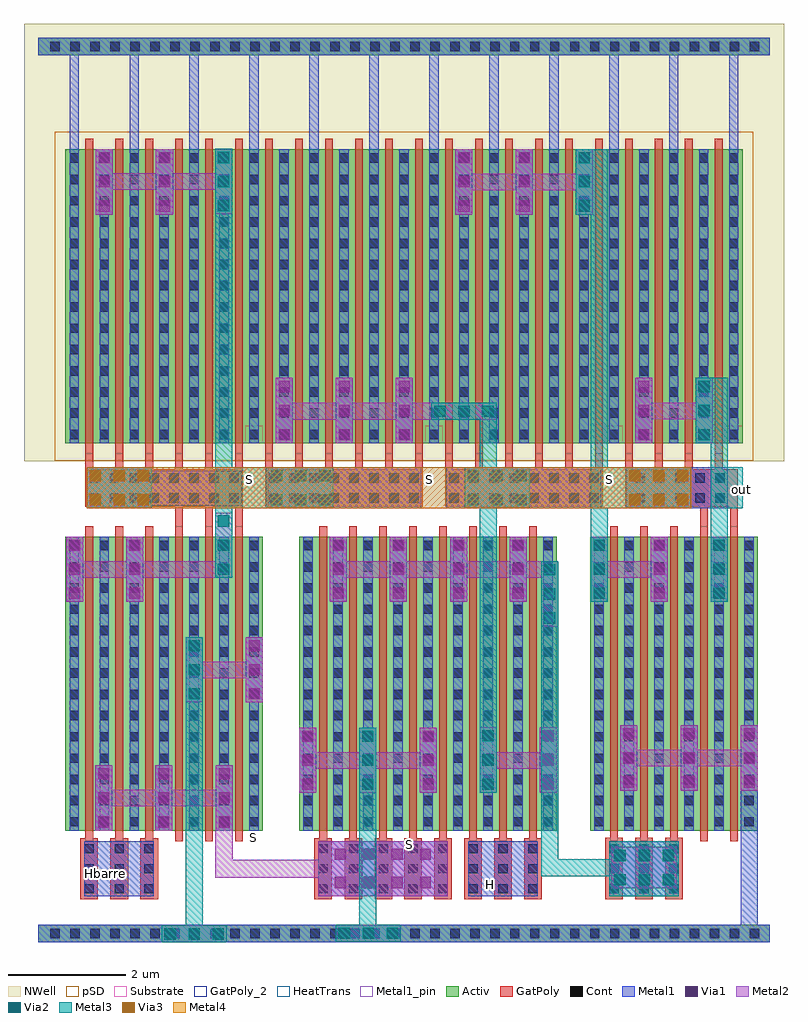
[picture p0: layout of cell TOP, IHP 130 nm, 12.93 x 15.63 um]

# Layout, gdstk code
from math import pi, radians
import gdstk
lib = gdstk.Library(unit=1e-6, precision=1e-09)
def R(c, l, rs):  # rectangles x0, y0, x1, y1
    for r in rs: c.add(gdstk.rectangle(r[:2], r[2:], *l))
def A(c, l, x, y, w, h, nx, ny, dx, dy):  # array of equal rectangles
    R(c, l, [(x+i*dx, y+j*dy, x+i*dx+w, y+j*dy+h) for i in range(nx) for j in range(ny)])
def P(c, l, *ps):  # polygons
    for p in ps: c.add(gdstk.Polygon(p, *l))
Activ = (1, 0)
GatPoly = (5, 0)
GatPoly_2 = (5, 2)
Cont = (6, 0)
Metal1 = (8, 0)
Metal1_pin = (8, 2)
Metal2 = (10, 0)
pSD = (14, 0)
Via1 = (19, 0)
Via2 = (29, 0)
Metal3 = (30, 0)
NWell = (31, 0)
Substrate = (40, 0)
Via3 = (49, 0)
Metal4 = (50, 0)
HeatTrans = (51, 0)

nmos_4 = lib.new_cell('nmos$4')
A(nmos_4, Activ, 0, 0, 0.3, 0.3, 4, 1, 0.51, 0)
R(nmos_4, Activ, [(0,0,1.83,5)])
A(nmos_4, GatPoly, 0.34, -0.18, 0.13, 5.36, 3, 1, 0.51, 0)
R(nmos_4, GatPoly_2, [(0.34,-0.18,0.47,5.18)])
A(nmos_4, Cont, 0.07, 0.07, 0.16, 0.16, 4, 4, 0.51, 0.36)
A(nmos_4, Cont, 0.07, 1.515, 0.16, 0.16, 4, 3, 0.51, 0.36)
A(nmos_4, Cont, 0.07, 2.6, 0.16, 0.16, 4, 3, 0.51, 0.36)
A(nmos_4, Cont, 0.07, 3.685, 0.16, 0.16, 4, 3, 0.51, 0.36)
A(nmos_4, Cont, 0.07, 4.77, 0.16, 0.16, 4, 1, 0.51, 0)
A(nmos_4, Metal1, 0.07, 0, 0.16, 5, 4, 1, 0.51, 0)
R(nmos_4, Metal1_pin, [(0.07,0,0.23,5), (0.58,0,0.74,5)])
A(nmos_4, HeatTrans, 0.34, -0.18, 0.13, 5.36, 3, 1, 0.51, 0)
nmos_4.add(gdstk.Label('nmos', (0.405,2.5), layer=63, texttype=0))
nmos_4.add(gdstk.Label('nmos', (0.405,2.5), layer=51, texttype=0))
nmos_4.add(gdstk.Label('nmos', (0.915,2.5), layer=51, texttype=0))
nmos_4.add(gdstk.Label('nmos', (1.425,2.5), layer=51, texttype=0))

nmos_5 = lib.new_cell('nmos$5')
A(nmos_5, Activ, 0, 0, 0.3, 0.3, 3, 1, 0.51, 0)
R(nmos_5, Activ, [(0,0,1.32,5)])
R(nmos_5, GatPoly, [(0.34,-0.18,0.47,5.18), (0.85,-0.18,0.98,5.18)])
R(nmos_5, GatPoly_2, [(0.34,-0.18,0.47,5.18)])
A(nmos_5, Cont, 0.07, 0.07, 0.16, 0.16, 3, 4, 0.51, 0.36)
A(nmos_5, Cont, 0.07, 1.515, 0.16, 0.16, 3, 3, 0.51, 0.36)
A(nmos_5, Cont, 0.07, 2.6, 0.16, 0.16, 3, 3, 0.51, 0.36)
A(nmos_5, Cont, 0.07, 3.685, 0.16, 0.16, 3, 3, 0.51, 0.36)
A(nmos_5, Cont, 0.07, 4.77, 0.16, 0.16, 3, 1, 0.51, 0)
A(nmos_5, Metal1, 0.07, 0, 0.16, 5, 3, 1, 0.51, 0)
R(nmos_5, Metal1_pin, [(0.07,0,0.23,5), (0.58,0,0.74,5)])
R(nmos_5, HeatTrans, [(0.34,-0.18,0.47,5.18), (0.85,-0.18,0.98,5.18)])
nmos_5.add(gdstk.Label('nmos', (0.405,2.5), layer=63, texttype=0))
nmos_5.add(gdstk.Label('nmos', (0.405,2.5), layer=51, texttype=0))
nmos_5.add(gdstk.Label('nmos', (0.915,2.5), layer=51, texttype=0))

nmos = lib.new_cell('nmos')
A(nmos, Activ, 0, 0, 0.3, 0.3, 6, 1, 0.51, 0)
R(nmos, Activ, [(0,0,2.85,5)])
A(nmos, GatPoly, 0.34, -0.18, 0.13, 5.36, 5, 1, 0.51, 0)
R(nmos, GatPoly_2, [(0.34,-0.18,0.47,5.18)])
A(nmos, Cont, 0.07, 0.07, 0.16, 0.16, 6, 4, 0.51, 0.36)
A(nmos, Cont, 0.07, 1.515, 0.16, 0.16, 6, 3, 0.51, 0.36)
A(nmos, Cont, 0.07, 2.6, 0.16, 0.16, 6, 3, 0.51, 0.36)
A(nmos, Cont, 0.07, 3.685, 0.16, 0.16, 6, 3, 0.51, 0.36)
A(nmos, Cont, 0.07, 4.77, 0.16, 0.16, 6, 1, 0.51, 0)
A(nmos, Metal1, 0.07, 0, 0.16, 5, 6, 1, 0.51, 0)
R(nmos, Metal1_pin, [(0.07,0,0.23,5), (0.58,0,0.74,5)])
A(nmos, HeatTrans, 0.34, -0.18, 0.13, 5.36, 5, 1, 0.51, 0)
nmos.add(gdstk.Label('nmos', (0.405,2.5), layer=63, texttype=0))
nmos.add(gdstk.Label('nmos', (0.405,2.5), layer=51, texttype=0))
nmos.add(gdstk.Label('nmos', (0.915,2.5), layer=51, texttype=0))
nmos.add(gdstk.Label('nmos', (1.425,2.5), layer=51, texttype=0))
nmos.add(gdstk.Label('nmos', (1.935,2.5), layer=51, texttype=0))
nmos.add(gdstk.Label('nmos', (2.445,2.5), layer=51, texttype=0))

pmos_3 = lib.new_cell('pmos$3')
A(pmos_3, Activ, 0, 0, 0.3, 0.3, 7, 1, 0.51, 0)
R(pmos_3, Activ, [(0,0,3.36,5)])
A(pmos_3, GatPoly, 0.34, -0.18, 0.13, 5.36, 6, 1, 0.51, 0)
R(pmos_3, GatPoly, [(0.34,-0.18,0.47,5.18)])
A(pmos_3, Cont, 0.07, 0.07, 0.16, 0.16, 7, 4, 0.51, 0.36)
A(pmos_3, Cont, 0.07, 1.515, 0.16, 0.16, 7, 3, 0.51, 0.36)
A(pmos_3, Cont, 0.07, 2.6, 0.16, 0.16, 7, 3, 0.51, 0.36)
A(pmos_3, Cont, 0.07, 3.685, 0.16, 0.16, 7, 3, 0.51, 0.36)
A(pmos_3, Cont, 0.07, 4.77, 0.16, 0.16, 7, 1, 0.51, 0)
A(pmos_3, Metal1, 0.58, 0, 0.16, 5, 6, 1, 0.51, 0)
R(pmos_3, Metal1, [(0.07,0,0.23,5), (0.07,0,0.23,5), (0.58,0,0.74,5)])
R(pmos_3, pSD, [(-0.18,-0.3,3.54,5.3)])
R(pmos_3, NWell, [(-0.31,-0.31,3.67,5.31)])
R(pmos_3, Substrate, [(3.06,0,3.36,0.3)])
A(pmos_3, HeatTrans, 0.34, -0.18, 0.13, 5.36, 6, 1, 0.51, 0)
pmos_3.add(gdstk.Label('pmos', (0.405,2.5), layer=63, texttype=0))
pmos_3.add(gdstk.Label('pmos', (0.405,2.5), layer=51, texttype=0))
pmos_3.add(gdstk.Label('pmos', (0.915,2.5), layer=51, texttype=0))
pmos_3.add(gdstk.Label('pmos', (1.425,2.5), layer=51, texttype=0))
pmos_3.add(gdstk.Label('pmos', (1.935,2.5), layer=51, texttype=0))
pmos_3.add(gdstk.Label('pmos', (2.445,2.5), layer=51, texttype=0))
pmos_3.add(gdstk.Label('pmos', (2.955,2.5), layer=51, texttype=0))

via_stack_2 = lib.new_cell('via_stack$2')
R(via_stack_2, Metal1, [(-0.555,-0.145,0.555,0.145)])
R(via_stack_2, Metal2, [(-0.555,-0.145,0.555,0.145)])
A(via_stack_2, Via1, -0.505, -0.095, 0.19, 0.19, 3, 1, 0.41, 0)
A(via_stack_2, Via2, -0.505, -0.095, 0.19, 0.19, 3, 1, 0.41, 0)
R(via_stack_2, Metal3, [(-0.555,-0.145,0.555,0.145)])

via_stack_1 = lib.new_cell('via_stack$1')
R(via_stack_1, Metal1, [(-0.555,-0.145,0.555,0.145)])
R(via_stack_1, Metal2, [(-0.555,-0.145,0.555,0.145)])
A(via_stack_1, Via1, -0.505, -0.095, 0.19, 0.19, 3, 1, 0.41, 0)

pmos = lib.new_cell('pmos')
A(pmos, Activ, 0, 0, 0.3, 0.3, 5, 1, 0.51, 0)
R(pmos, Activ, [(0,0,2.34,5)])
A(pmos, GatPoly, 0.34, -0.18, 0.13, 5.36, 4, 1, 0.51, 0)
R(pmos, GatPoly, [(0.34,-0.18,0.47,5.18)])
A(pmos, Cont, 0.07, 0.07, 0.16, 0.16, 5, 4, 0.51, 0.36)
A(pmos, Cont, 0.07, 1.515, 0.16, 0.16, 5, 3, 0.51, 0.36)
A(pmos, Cont, 0.07, 2.6, 0.16, 0.16, 5, 3, 0.51, 0.36)
A(pmos, Cont, 0.07, 3.685, 0.16, 0.16, 5, 3, 0.51, 0.36)
A(pmos, Cont, 0.07, 4.77, 0.16, 0.16, 5, 1, 0.51, 0)
A(pmos, Metal1, 0.58, 0, 0.16, 5, 4, 1, 0.51, 0)
R(pmos, Metal1, [(0.07,0,0.23,5), (0.07,0,0.23,5), (0.58,0,0.74,5)])
R(pmos, pSD, [(-0.18,-0.3,2.52,5.3)])
R(pmos, NWell, [(-0.31,-0.31,2.65,5.31)])
R(pmos, Substrate, [(2.04,0,2.34,0.3)])
A(pmos, HeatTrans, 0.34, -0.18, 0.13, 5.36, 4, 1, 0.51, 0)
pmos.add(gdstk.Label('pmos', (0.405,2.5), layer=63, texttype=0))
pmos.add(gdstk.Label('pmos', (0.405,2.5), layer=51, texttype=0))
pmos.add(gdstk.Label('pmos', (0.915,2.5), layer=51, texttype=0))
pmos.add(gdstk.Label('pmos', (1.425,2.5), layer=51, texttype=0))
pmos.add(gdstk.Label('pmos', (1.935,2.5), layer=51, texttype=0))

via_stack = lib.new_cell('via_stack')
R(via_stack, Metal1, [(-0.385,-0.865,0.385,0.865)])
R(via_stack, Metal2, [(-0.385,-0.865,0.385,0.865)])
A(via_stack, Via1, -0.335, -0.815, 0.19, 0.19, 1, 4, 0, 0.48)
A(via_stack, Via1, 0.145, -0.815, 0.19, 0.19, 1, 4, 0, 0.48)

via_stack_3 = lib.new_cell('via_stack$3')
R(via_stack_3, Metal1, [(-0.35,-0.555,0.35,0.555)])
R(via_stack_3, Metal2, [(-0.35,-0.555,0.35,0.555)])
A(via_stack_3, Via1, -0.3, -0.505, 0.19, 0.19, 1, 3, 0, 0.41)
A(via_stack_3, Via1, 0.11, -0.505, 0.19, 0.19, 1, 3, 0, 0.41)
A(via_stack_3, Via2, -0.3, -0.505, 0.19, 0.19, 1, 3, 0, 0.41)
A(via_stack_3, Via2, 0.11, -0.505, 0.19, 0.19, 1, 3, 0, 0.41)
R(via_stack_3, Metal3, [(-0.35,-0.555,0.35,0.555)])
A(via_stack_3, Via3, -0.3, -0.505, 0.19, 0.19, 1, 3, 0, 0.41)
A(via_stack_3, Via3, 0.11, -0.505, 0.19, 0.19, 1, 3, 0, 0.41)
R(via_stack_3, Metal4, [(-0.35,-0.555,0.35,0.555)])

via_stack_4 = lib.new_cell('via_stack$4')
R(via_stack_4, Metal2, [(-0.555,-0.145,0.555,0.145)])
A(via_stack_4, Via2, -0.505, -0.095, 0.19, 0.19, 3, 1, 0.41, 0)
R(via_stack_4, Metal3, [(-0.555,-0.145,0.555,0.145)])

via_stack_5 = lib.new_cell('via_stack$5')
R(via_stack_5, Metal1, [(-0.35,-0.555,0.35,0.555)])
R(via_stack_5, Metal2, [(-0.35,-0.555,0.35,0.555)])
A(via_stack_5, Via1, -0.3, -0.505, 0.19, 0.19, 1, 3, 0, 0.41)
A(via_stack_5, Via1, 0.11, -0.505, 0.19, 0.19, 1, 3, 0, 0.41)
A(via_stack_5, Via2, -0.3, -0.505, 0.19, 0.19, 1, 3, 0, 0.41)
A(via_stack_5, Via2, 0.11, -0.505, 0.19, 0.19, 1, 3, 0, 0.41)
R(via_stack_5, Metal3, [(-0.35,-0.555,0.35,0.555)])

top = lib.new_cell('TOP')
R(top, Activ, [(-26.855,-10.975,-14.405,-10.675), (-26.855,4.115,-14.405,4.415)])
A(top, GatPoly, -19.605, -10.245, 0.3, 1.04, 3, 1, 0.51, 0)
A(top, GatPoly, -17.205, -10.245, 0.3, 1.045, 3, 1, 0.51, 0)
R(top, GatPoly, [(-26.14,-10.245,-25.84,-9.205), (-25.625,-10.245,-25.325,-9.205), (-25.115,-10.245,-24.815,-9.205), (-22.155,-10.245,-21.855,-9.21), (-21.64,-10.245,-21.34,-9.21), (-21.13,-10.245,-20.83,-9.21), (-20.625,-10.245,-20.325,-9.21), (-20.115,-10.245,-19.815,-9.21)])
P(top, GatPoly, [(-22.99,-3.57),(-22.99,-2.665),(-22.86,-2.665),(-22.86,-2.93),(-22.48,-2.93),(-22.48,-2.665),(-22.35,-2.665),(-22.35,-2.93),(-21.97,-2.93),(-21.97,-2.665),(-21.84,-2.665),(-21.84,-2.93),(-21.46,-2.93),(-21.46,-2.665),(-21.33,-2.665),(-21.33,-2.93),(-20.95,-2.93),(-20.95,-2.665),(-20.82,-2.665),(-20.82,-2.93),(-20.44,-2.93),(-20.44,-2.665),(-20.31,-2.665),(-20.31,-3.035),(-20.31,-3.57),(-21.84,-3.57),(-21.97,-3.57),(-22.35,-3.57),(-22.48,-3.57),(-22.86,-3.57)],
  [(-15.59,-3.895),(-15.59,-3.57),(-16.87,-3.57),(-16.87,-2.665),(-16.74,-2.665),(-16.74,-2.925),(-16.36,-2.925),(-16.36,-2.665),(-16.23,-2.665),(-16.23,-2.925),(-15.85,-2.925),(-15.85,-2.665),(-15.72,-2.665),(-15.72,-2.925),(-15.34,-2.925),(-15.34,-2.665),(-15.21,-2.665),(-15.21,-2.925),(-14.95,-2.925),(-14.95,-3.895),(-15.08,-3.895),(-15.08,-3.57),(-15.46,-3.57),(-15.46,-3.895)],
  [(-24.52,-3.895),(-24.52,-3.57),(-26.05,-3.57),(-26.05,-3.035),(-26.05,-2.665),(-25.92,-2.665),(-25.92,-2.93),(-25.54,-2.93),(-25.54,-2.665),(-25.41,-2.665),(-25.41,-2.93),(-25.03,-2.93),(-25.03,-2.665),(-24.9,-2.665),(-24.9,-2.93),(-24.52,-2.93),(-24.52,-2.665),(-24.39,-2.665),(-24.39,-2.93),(-24.01,-2.93),(-24.01,-2.665),(-23.88,-2.665),(-23.88,-2.93),(-23.5,-2.93),(-23.5,-2.665),(-23.37,-2.665),(-23.37,-3.895),(-23.5,-3.895),(-23.5,-3.57),(-23.88,-3.57),(-23.88,-3.895),(-24.01,-3.895),(-24.01,-3.57),(-24.39,-3.57),(-24.39,-3.895)],
  [(-19.93,-3.57),(-19.93,-2.665),(-19.8,-2.665),(-19.8,-2.93),(-19.42,-2.93),(-19.42,-2.665),(-19.29,-2.665),(-19.29,-2.93),(-18.91,-2.93),(-18.91,-2.665),(-18.78,-2.665),(-18.78,-2.93),(-18.4,-2.93),(-18.4,-2.665),(-18.27,-2.665),(-18.27,-2.93),(-17.89,-2.93),(-17.89,-2.665),(-17.76,-2.665),(-17.76,-2.93),(-17.38,-2.93),(-17.38,-2.665),(-17.25,-2.665),(-17.25,-3.035),(-17.25,-3.57),(-18.78,-3.57),(-18.91,-3.57),(-19.29,-3.57),(-19.42,-3.57),(-19.8,-3.57)])
A(top, Cont, -26.645, -10.905, 0.16, 0.16, 36, 2, 0.34, 15.09)
A(top, Cont, -26.07, -10.145, 0.16, 0.16, 1, 3, 0, 0.34)
A(top, Cont, -25.555, -10.145, 0.16, 0.16, 1, 3, 0, 0.34)
A(top, Cont, -25.045, -10.145, 0.16, 0.16, 1, 3, 0, 0.34)
A(top, Cont, -22.085, -10.145, 0.16, 0.16, 1, 3, 0, 0.34)
A(top, Cont, -21.57, -10.145, 0.16, 0.16, 1, 3, 0, 0.34)
A(top, Cont, -21.06, -10.145, 0.16, 0.16, 1, 3, 0, 0.34)
A(top, Cont, -20.555, -10.145, 0.16, 0.16, 5, 3, 0.51, 0.34)
A(top, Cont, -17.135, -10.145, 0.16, 0.16, 3, 3, 0.51, 0.34)
A(top, Cont, -25.98, -3.5, 0.16, 0.16, 8, 2, 0.34, 0.34)
A(top, Cont, -22.92, -3.5, 0.16, 0.16, 8, 2, 0.34, 0.34)
A(top, Cont, -19.86, -3.5, 0.16, 0.16, 8, 2, 0.34, 0.34)
A(top, Cont, -16.695, -3.495, 0.16, 0.16, 4, 2, 0.34, 0.34)
R(top, Cont, [(-15.335,-3.5,-15.175,-3.34), (-15.335,-3.16,-15.175,-3)])
A(top, Metal1, -25.3, 2.515, 0.16, 1.6, 11, 1, 1.02, 0)
R(top, Metal1, [(-26.07,-10.195,-24.885,-9.255), (-22.085,-10.195,-19.885,-9.255), (-19.535,-10.195,-18.355,-9.255), (-17.135,-10.195,-15.955,-9.255), (-22.975,-3.595,-20.335,-2.895), (-19.91,-3.595,-17.27,-2.895), (-16.85,-3.595,-15.12,-2.895), (-26.03,-3.55,-23.39,-2.95)])
P(top, Metal1, [(-26.32,2.515),(-26.32,4.115),(-26.855,4.115),(-26.855,4.415),(-14.405,4.415),(-14.405,4.115),(-26.16,4.115),(-26.16,2.515)],
  [(-26.855,-10.975),(-26.855,-10.675),(-14.9,-10.675),(-14.9,-8.395),(-14.61,-8.395),(-14.61,-10.675),(-14.405,-10.675),(-14.405,-10.975)])
R(top, Metal1_pin, [(-26.855,-10.975,-23.885,-10.675), (-23.885,-10.975,-21.105,-10.675), (-21.105,-10.975,-14.405,-10.675), (-26.07,-10.195,-24.885,-9.255), (-26.855,4.115,-24.195,4.415), (-24.195,4.115,-21.415,4.415), (-21.415,4.115,-14.405,4.415)])
R(top, Metal2, [(-23.845,-9.875,-23.545,-9.075), (-25.885,-8.665,-23.545,-8.385), (-22.415,-8.025,-20.075,-7.745), (-19.345,-8.02,-18.03,-7.74), (-16.95,-7.985,-15.635,-7.705), (-15.925,-7.985,-14.61,-7.705), (-24.345,-6.485,-23.03,-6.205), (-26.38,-4.775,-23.555,-4.495), (-21.895,-4.775,-18.005,-4.495), (-17.455,-4.775,-16.14,-4.495), (-22.815,-2.085,-19.055,-1.795), (-22.815,-2.075,-20.48,-1.795), (-16.695,-2.075,-15.38,-1.795), (-19.755,1.815,-17.42,2.095), (-25.875,1.825,-23.555,2.105)])
P(top, Metal2, [(-22.085,-10.195),(-22.085,-9.875),(-23.845,-9.875),(-23.845,-9.575),(-22.085,-9.575),(-22.085,-9.255),(-19.885,-9.255),(-19.885,-10.195)])
R(top, Metal3, [(-24.345,-10.835,-24.055,-5.785), (-21.39,-10.835,-21.1,-8.435), (-18.295,-9.85,-18.005,-4.495), (-19.345,-7.32,-19.055,-1.795), (-23.845,-4.775,-23.555,2.52), (-23.555,-3.595,-22.94,-2.895)])
P(top, Metal3, [(-17.455,-4.075),(-17.455,2.515),(-17.165,2.515),(-17.165,-2.895),(-16.85,-2.895),(-16.85,-3.595),(-17.165,-3.595),(-17.165,-4.075)],
  [(-15.415,-4.075),(-15.415,-1.375),(-15.125,-1.375),(-15.125,-2.895),(-14.865,-2.895),(-14.865,-3.595),(-15.125,-3.595),(-15.125,-4.075)],
  [(-17.135,-10.195),(-17.135,-9.85),(-18.295,-9.85),(-18.295,-9.56),(-17.135,-9.56),(-17.135,-9.255),(-15.955,-9.255),(-15.955,-10.195)])
P(top, NWell, [(-27.095,-2.795),(-27.095,4.655),(-14.165,4.655),(-14.165,3.95),(-14.165,-2.795)])
R(top, Metal4, [(-26.03,-3.595,-15.74,-2.895)])
top.add(gdstk.Reference(nmos_4, (-26.39,-9.075)))
top.add(gdstk.Reference(nmos_4, (-24.86,-9.075)))
top.add(gdstk.Reference(nmos_4, (-19.86,-9.075)))
top.add(gdstk.Reference(nmos_5, (-15.93,-9.075)))
top.add(gdstk.Reference(nmos_4, (-17.46,-9.075)))
top.add(gdstk.Reference(nmos, (-22.41,-9.075)))
top.add(gdstk.Reference(pmos_3, (-26.39,-2.485)))
top.add(gdstk.Reference(via_stack_2, (-15.525,-1.93), rotation=pi/2))
top.add(gdstk.Reference(via_stack_1, (-19.61,1.96), rotation=pi/2))
top.add(gdstk.Reference(via_stack_1, (-16.55,-1.93), rotation=pi/2))
top.add(gdstk.Reference(via_stack_2, (-17.565,1.96), rotation=pi/2))
top.add(gdstk.Reference(via_stack_1, (-18.585,1.96), rotation=pi/2))
top.add(gdstk.Reference(via_stack_1, (-22.67,-1.93), rotation=pi/2))
top.add(gdstk.Reference(via_stack_1, (-21.645,-1.93), rotation=pi/2))
top.add(gdstk.Reference(via_stack_1, (-20.625,-1.93), rotation=pi/2))
top.add(gdstk.Reference(via_stack_2, (-23.7,1.965), rotation=pi/2))
top.add(gdstk.Reference(via_stack_1, (-24.705,1.96), rotation=pi/2))
top.add(gdstk.Reference(via_stack_1, (-25.73,1.96), rotation=pi/2))
top.add(gdstk.Reference(pmos_3, (-20.27,-2.485)))
top.add(gdstk.Reference(pmos, (-17.21,-2.485)))
top.add(gdstk.Reference(via_stack_1, (-25.21,-4.63), rotation=pi/2))
top.add(gdstk.Reference(via_stack_1, (-26.235,-4.63), rotation=pi/2))
top.add(gdstk.Reference(via_stack_1, (-21.645,-1.93), rotation=pi/2))
top.add(gdstk.Reference(via_stack_1, (-22.67,-1.93), rotation=pi/2))
top.add(gdstk.Reference(via_stack_1, (-24.715,-8.52), rotation=pi/2))
top.add(gdstk.Reference(via_stack_1, (-25.74,-8.52), rotation=pi/2))
top.add(gdstk.Reference(via_stack_1, (-23.69,-8.52), rotation=pi/2))
top.add(gdstk.Reference(via_stack, (-20.99,-9.72), rotation=pi/2))
top.add(gdstk.Reference(via_stack_1, (-21.75,-4.63), rotation=pi/2))
top.add(gdstk.Reference(via_stack_1, (-19.7,-4.63), rotation=pi/2))
top.add(gdstk.Reference(via_stack_1, (-18.69,-4.63), rotation=pi/2))
top.add(gdstk.Reference(via_stack_2, (-21.245,-7.88), rotation=pi/2))
top.add(gdstk.Reference(via_stack_1, (-22.27,-7.88), rotation=pi/2))
top.add(gdstk.Reference(via_stack_1, (-20.22,-7.88), rotation=pi/2))
top.add(gdstk.Reference(via_stack_1, (-18.175,-7.875), rotation=pi/2))
top.add(gdstk.Reference(via_stack_1, (-15.78,-7.84), rotation=pi/2))
top.add(gdstk.Reference(via_stack_1, (-16.805,-7.84), rotation=pi/2))
top.add(gdstk.Reference(via_stack_1, (-14.755,-7.84), rotation=pi/2))
top.add(gdstk.Reference(via_stack_1, (-16.285,-4.63), rotation=pi/2))
top.add(gdstk.Reference(via_stack_2, (-17.31,-4.63), rotation=pi/2))
top.add(gdstk.Reference(via_stack_2, (-15.27,-4.63), rotation=pi/2))
top.add(gdstk.Reference(via_stack_3, (-16.295,-3.245), rotation=3*pi/2))
top.add(gdstk.Reference(via_stack_3, (-25.475,-3.245), rotation=3*pi/2))
top.add(gdstk.Reference(pmos_3, (-23.33,-2.485)))
top.add(gdstk.Reference(via_stack_1, (-20.625,-1.93), rotation=pi/2))
top.add(gdstk.Reference(via_stack_4, (-19.61,-1.94), rotation=pi))
top.add(gdstk.Reference(via_stack_5, (-19.045,-3.245), rotation=3*pi/2))
top.add(gdstk.Reference(via_stack_2, (-19.2,-7.875), rotation=pi/2))
top.add(gdstk.Reference(via_stack_1, (-20.725,-4.63), rotation=pi/2))
top.add(gdstk.Reference(via_stack_4, (-18.15,-5.05), rotation=pi/2))
top.add(gdstk.Reference(via_stack_5, (-16.545,-9.705), rotation=3*pi/2))
top.add(gdstk.Reference(via_stack_2, (-21.24,-10.825), rotation=pi))
top.add(gdstk.Reference(via_stack_1, (-23.175,-6.34), rotation=pi/2))
top.add(gdstk.Reference(via_stack_2, (-24.2,-6.34), rotation=pi/2))
top.add(gdstk.Reference(via_stack_2, (-24.2,-10.835), rotation=pi))
top.add(gdstk.Reference(via_stack_4, (-23.7,-4.22), rotation=3*pi/2))
top.add(gdstk.Reference(via_stack_5, (-22.385,-3.245), rotation=3*pi/2))
top.add(gdstk.Label('S', (-20.535,-9.32), layer=8, texttype=0))
top.add(gdstk.Label('D', (-20.685,-9.325), layer=8, texttype=0))
top.add(gdstk.Label('S', (-20.2,-3.095), layer=8, texttype=0))
top.add(gdstk.Label('S', (-17.135,-3.095), layer=8, texttype=0))
top.add(gdstk.Label('S', (-23.19,-9.195), layer=8, texttype=0))
top.add(gdstk.Label('S', (-23.14,-9.2), layer=8, texttype=0))
top.add(gdstk.Label('S', (-23.255,-3.095), layer=8, texttype=0))
top.add(gdstk.Label('out', (-14.885,-3.265), layer=30, texttype=0))
top.add(gdstk.Label('Hbarre', (-25.71,-9.8), layer=8, texttype=2))
top.add(gdstk.Label('H', (-19.15,-9.995), layer=8, texttype=2))

lib.write_gds('TOP.gds')
